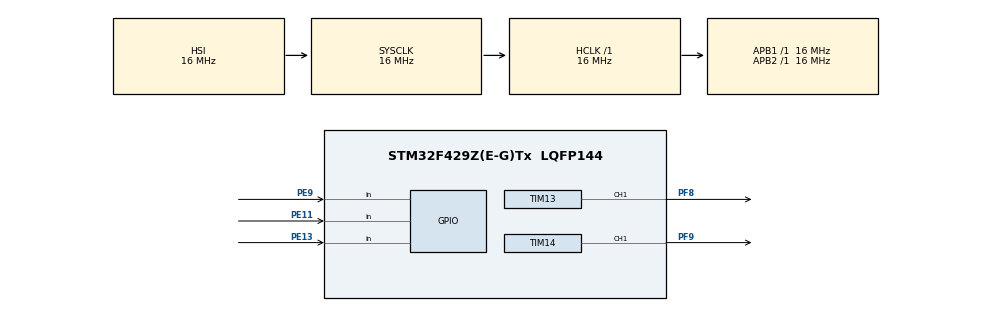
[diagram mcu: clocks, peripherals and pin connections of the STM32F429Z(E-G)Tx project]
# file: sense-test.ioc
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Mcu.Family=STM32F4
Mcu.Name=STM32F429Z(E-G)Tx
Mcu.Package=LQFP144
NVIC.PriorityGroup=NVIC_PRIORITYGROUP_4
PE11.Signal=GPIO_Input
PE13.Signal=GPIO_Input
PE9.Signal=GPIO_Input
PF8.Signal=S_TIM13_CH1
PF9.Signal=S_TIM14_CH1
PH0/OSC_IN.Mode=HSE-External-Oscillator
PH0/OSC_IN.Signal=RCC_OSC_IN
PH1/OSC_OUT.Mode=HSE-External-Oscillator
PH1/OSC_OUT.Signal=RCC_OSC_OUT
ProjectManager.HeapSize=0x200
ProjectManager.StackSize=0x400
ProjectManager.TargetToolchain=MDK-ARM V5.27
RCC.48MHZClocksFreq_Value=48000000
RCC.AHBFreq_Value=16000000
RCC.APB1Freq_Value=16000000
RCC.APB2Freq_Value=16000000
RCC.CortexFreq_Value=16000000
RCC.HSE_VALUE=25000000
RCC.HSI_VALUE=16000000
RCC.LSE_VALUE=32768
RCC.SYSCLKFreq_VALUE=16000000
RCC.VCOOutputFreq_Value=192000000
SH.S_TIM13_CH1.0=TIM13_CH1,PWM Generation1 CH1
SH.S_TIM14_CH1.0=TIM14_CH1,PWM Generation1 CH1
TIM1.AutoReloadPreload=TIM_AUTORELOAD_PRELOAD_ENABLE
TIM1.Prescaler=1600-1
TIM1.TIM_MasterOutputTrigger=TIM_TRGO_UPDATE
TIM13.AutoReloadPreload=TIM_AUTORELOAD_PRELOAD_ENABLE
TIM13.Channel=TIM_CHANNEL_1
TIM13.Period=200-1
TIM13.Prescaler=1600-1
TIM13.Pulse=15
TIM14.AutoReloadPreload=TIM_AUTORELOAD_PRELOAD_ENABLE
TIM14.Channel=TIM_CHANNEL_1
TIM14.OCFastMode_PWM=TIM_OCFAST_DISABLE
TIM14.Period=10000-1
TIM14.Prescaler=1600-1
TIM14.Pulse=1
VP_TIM13_VS_ClockSourceINT.Mode=Enable_Timer
VP_TIM14_VS_ClockSourceINT.Mode=Enable_Timer
VP_TIM1_VS_ClockSourceINT.Mode=Internal
board=custom

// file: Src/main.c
/* USER CODE BEGIN Header */
/**
  ******************************************************************************
  * @file           : main.c
  * @brief          : Main program body
  ******************************************************************************
  * @attention
  *
  * <h2><center>&copy; Copyright (c) 2019 STMicroelectronics.
  * All rights reserved.</center></h2>
  *
  * This software component is licensed by ST under BSD 3-Clause license,
  * the "License"; You may not use this file except in compliance with the
  * License. You may obtain a copy of the License at:
  *                        opensource.org/licenses/BSD-3-Clause
  *
  ******************************************************************************
  */
/* USER CODE END Header */

#include "main.h"

TIM_HandleTypeDef htim1;
TIM_HandleTypeDef htim13;
TIM_HandleTypeDef htim14;

/* USER CODE BEGIN PV */
uint32_t left_buf,left[2]={0};
uint32_t front_buf,front[2]={0};
uint32_t right_buf,right[2]={0};
/* USER CODE END PV */

void SystemClock_Config(void);
static void MX_GPIO_Init(void);
static void MX_TIM14_Init(void);
static void MX_TIM13_Init(void);
static void MX_TIM1_Init(void);

int main(void)
{

  /* MCU Configuration--------------------------------------------------------*/

  /* Reset of all peripherals, Initializes the Flash interface and the Systick. */
  HAL_Init();

  /* Configure the system clock */
  SystemClock_Config();

  /* Initialize all configured peripherals */
  MX_GPIO_Init();
  MX_TIM14_Init();
  MX_TIM13_Init();
  MX_TIM1_Init();
  /* USER CODE BEGIN 2 */
	HAL_TIM_PWM_Start (&htim14,TIM_CHANNEL_1);			//enable trig PWM
	HAL_TIM_PWM_Start (&htim13,TIM_CHANNEL_1);			//enable severo PWM
	HAL_TIM_IC_Start_DMA(&htim1,TIM_CHANNEL_1,&left_buf,sizeof(uint16_t));  //enable left sensor dma
	HAL_TIM_IC_Start_DMA(&htim1,TIM_CHANNEL_2,&front_buf,sizeof(uint16_t));//enable front sensor dma
	HAL_TIM_IC_Start_DMA(&htim1,TIM_CHANNEL_3,&right_buf,sizeof(uint16_t));//enable right sensor dma
  /* USER CODE END 2 */

  /* Infinite loop */
  /* USER CODE BEGIN WHILE */
  while (1)
  {
		if(GPIOE->IDR&(GPIO_PIN_9|GPIO_PIN_11|GPIO_PIN_13)){
			if(GPIOE->IDR&GPIO_PIN_9&&(!left[0]))
				left[0]=TIM13->CNT;
			if(GPIOE->IDR&GPIO_PIN_11&&(!front[0]))
				front[0]=TIM13->CNT;
			if(GPIOE->IDR&GPIO_PIN_13&&(!right[0]))
				right[0]=TIM13->CNT;
		}

		if(left[0] && !(GPIOE->IDR&GPIO_PIN_9)){
			if(left[0]>TIM13->CNT)
				left[1]=TIM13->CNT-left[0]+0xffff;
			else
				left[1]=TIM13->CNT-left[0];
			left[0]=0;
		}
		if(front[0] && !(GPIOE->IDR&GPIO_PIN_11)){
			if(front[0]>TIM13->CNT)
				front[1]=TIM13->CNT-front[0]+0xffff;
			else
				front[1]=TIM13->CNT-front[0];
			front[0]=0;
		}
		if(right[0] && !(GPIOE->IDR&GPIO_PIN_13)){
			if(right[0]>TIM13->CNT)
				right[1]=TIM13->CNT-right[0]+0xffff;
			else
				right[1]=TIM13->CNT-right[0];
			right[0]=0;
		}

		if(left[1]<13)
			TIM13->CCR1=20;
		else if(front[1]<29*2 || right[1]<13)
			TIM13->CCR1=10;
		else
			TIM13->CCR1=15;

    /* USER CODE END WHILE */
		}
  }

void SystemClock_Config(void)
{
  RCC_OscInitTypeDef RCC_OscInitStruct = {0};
  RCC_ClkInitTypeDef RCC_ClkInitStruct = {0};

  /** Configure the main internal regulator output voltage
  */
  __HAL_RCC_PWR_CLK_ENABLE();
  __HAL_PWR_VOLTAGESCALING_CONFIG(PWR_REGULATOR_VOLTAGE_SCALE3);
  /** Initializes the CPU, AHB and APB busses clocks
  */
  RCC_OscInitStruct.OscillatorType = RCC_OSCILLATORTYPE_HSI;
  RCC_OscInitStruct.HSIState = RCC_HSI_ON;
  RCC_OscInitStruct.HSICalibrationValue = RCC_HSICALIBRATION_DEFAULT;
  RCC_OscInitStruct.PLL.PLLState = RCC_PLL_NONE;
  if (HAL_RCC_OscConfig(&RCC_OscInitStruct) != HAL_OK)
  {
    Error_Handler();
  }
  /** Initializes the CPU, AHB and APB busses clocks
  */
  RCC_ClkInitStruct.ClockType = RCC_CLOCKTYPE_HCLK|RCC_CLOCKTYPE_SYSCLK
                              |RCC_CLOCKTYPE_PCLK1|RCC_CLOCKTYPE_PCLK2;
  RCC_ClkInitStruct.SYSCLKSource = RCC_SYSCLKSOURCE_HSI;
  RCC_ClkInitStruct.AHBCLKDivider = RCC_SYSCLK_DIV1;
  RCC_ClkInitStruct.APB1CLKDivider = RCC_HCLK_DIV1;
  RCC_ClkInitStruct.APB2CLKDivider = RCC_HCLK_DIV1;

  if (HAL_RCC_ClockConfig(&RCC_ClkInitStruct, FLASH_LATENCY_0) != HAL_OK)
  {
    Error_Handler();
  }
}

static void MX_TIM1_Init(void)
{

  TIM_ClockConfigTypeDef sClockSourceConfig = {0};
  TIM_MasterConfigTypeDef sMasterConfig = {0};

  htim1.Instance = TIM1;
  htim1.Init.Prescaler = 1600-1;
  htim1.Init.CounterMode = TIM_COUNTERMODE_UP;
  htim1.Init.Period = 0;
  htim1.Init.ClockDivision = TIM_CLOCKDIVISION_DIV1;
  htim1.Init.RepetitionCounter = 0;
  htim1.Init.AutoReloadPreload = TIM_AUTORELOAD_PRELOAD_ENABLE;
  if (HAL_TIM_Base_Init(&htim1) != HAL_OK)
  {
    Error_Handler();
  }
  sClockSourceConfig.ClockSource = TIM_CLOCKSOURCE_INTERNAL;
  if (HAL_TIM_ConfigClockSource(&htim1, &sClockSourceConfig) != HAL_OK)
  {
    Error_Handler();
  }
  sMasterConfig.MasterOutputTrigger = TIM_TRGO_UPDATE;
  sMasterConfig.MasterSlaveMode = TIM_MASTERSLAVEMODE_DISABLE;
  if (HAL_TIMEx_MasterConfigSynchronization(&htim1, &sMasterConfig) != HAL_OK)
  {
    Error_Handler();
  }

}

static void MX_TIM13_Init(void)
{

  TIM_OC_InitTypeDef sConfigOC = {0};

  htim13.Instance = TIM13;
  htim13.Init.Prescaler = 1600-1;
  htim13.Init.CounterMode = TIM_COUNTERMODE_UP;
  htim13.Init.Period = 200-1;
  htim13.Init.ClockDivision = TIM_CLOCKDIVISION_DIV1;
  htim13.Init.AutoReloadPreload = TIM_AUTORELOAD_PRELOAD_ENABLE;
  if (HAL_TIM_Base_Init(&htim13) != HAL_OK)
  {
    Error_Handler();
  }
  if (HAL_TIM_PWM_Init(&htim13) != HAL_OK)
  {
    Error_Handler();
  }
  sConfigOC.OCMode = TIM_OCMODE_PWM1;
  sConfigOC.Pulse = 15;
  sConfigOC.OCPolarity = TIM_OCPOLARITY_HIGH;
  sConfigOC.OCFastMode = TIM_OCFAST_DISABLE;
  if (HAL_TIM_PWM_ConfigChannel(&htim13, &sConfigOC, TIM_CHANNEL_1) != HAL_OK)
  {
    Error_Handler();
  }
  HAL_TIM_MspPostInit(&htim13);

}

static void MX_TIM14_Init(void)
{

  TIM_OC_InitTypeDef sConfigOC = {0};

  htim14.Instance = TIM14;
  htim14.Init.Prescaler = 1600-1;
  htim14.Init.CounterMode = TIM_COUNTERMODE_UP;
  htim14.Init.Period = 10000-1;
  htim14.Init.ClockDivision = TIM_CLOCKDIVISION_DIV1;
  htim14.Init.AutoReloadPreload = TIM_AUTORELOAD_PRELOAD_ENABLE;
  if (HAL_TIM_Base_Init(&htim14) != HAL_OK)
  {
    Error_Handler();
  }
  if (HAL_TIM_PWM_Init(&htim14) != HAL_OK)
  {
    Error_Handler();
  }
  sConfigOC.OCMode = TIM_OCMODE_PWM1;
  sConfigOC.Pulse = 1;
  sConfigOC.OCPolarity = TIM_OCPOLARITY_HIGH;
  sConfigOC.OCFastMode = TIM_OCFAST_DISABLE;
  if (HAL_TIM_PWM_ConfigChannel(&htim14, &sConfigOC, TIM_CHANNEL_1) != HAL_OK)
  {
    Error_Handler();
  }
  HAL_TIM_MspPostInit(&htim14);

}

static void MX_GPIO_Init(void)
{
  GPIO_InitTypeDef GPIO_InitStruct = {0};

  /* GPIO Ports Clock Enable */
  __HAL_RCC_GPIOF_CLK_ENABLE();
  __HAL_RCC_GPIOH_CLK_ENABLE();
  __HAL_RCC_GPIOE_CLK_ENABLE();

  /*Configure GPIO pins : PE9 PE11 PE13 */
  GPIO_InitStruct.Pin = GPIO_PIN_9|GPIO_PIN_11|GPIO_PIN_13;
  GPIO_InitStruct.Mode = GPIO_MODE_INPUT;
  GPIO_InitStruct.Pull = GPIO_NOPULL;
  HAL_GPIO_Init(GPIOE, &GPIO_InitStruct);

}

void Error_Handler(void)
{
}

/************************ (C) COPYRIGHT STMicroelectronics *****END OF FILE****/
